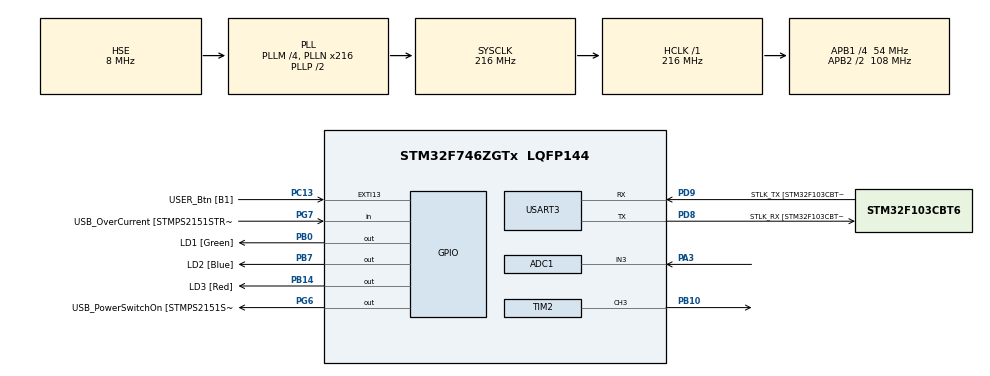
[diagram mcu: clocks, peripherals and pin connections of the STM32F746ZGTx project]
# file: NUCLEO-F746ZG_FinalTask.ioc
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ADC1.Channel-0\#ChannelRegularConversion=ADC_CHANNEL_3
ADC1.ExternalTrigConv=ADC_SOFTWARE_START
ADC1.NbrOfConversion=1
ADC1.NbrOfConversionFlag=1
ADC1.Rank-0\#ChannelRegularConversion=1
ADC1.SamplingTime-0\#ChannelRegularConversion=ADC_SAMPLETIME_480CYCLES
ADC1.master=1
Mcu.Family=STM32F7
Mcu.Name=STM32F746ZGTx
Mcu.Package=LQFP144
NVIC.ADC_IRQn=true\:0\:0\:false\:false\:true\:true\:true
NVIC.PriorityGroup=NVIC_PRIORITYGROUP_4
NVIC.TIM2_IRQn=true\:0\:0\:false\:false\:true\:true\:true
NVIC.USART3_IRQn=true\:0\:0\:false\:false\:true\:true\:true
PA1.GPIO_Label=RMII_REF_CLK [LAN8742A-CZ-TR_REFCLK0]
PA1.Signal=ETH_REF_CLK
PA10.GPIO_Label=USB_ID
PA10.Signal=USB_OTG_FS_ID
PA11.GPIO_Label=USB_DM
PA11.Signal=USB_OTG_FS_DM
PA12.GPIO_Label=USB_DP
PA12.Signal=USB_OTG_FS_DP
PA13.GPIO_Label=TMS
PA13.Mode=Serial_Wire
PA13.Signal=SYS_JTMS-SWDIO
PA14.GPIO_Label=TCK
PA14.Mode=Serial_Wire
PA14.Signal=SYS_JTCK-SWCLK
PA2.GPIO_Label=RMII_MDIO [LAN8742A-CZ-TR_MDIO]
PA2.Signal=ETH_MDIO
PA3.Signal=ADCx_IN3
PA7.GPIO_Label=RMII_CRS_DV [LAN8742A-CZ-TR_CRS_DV]
PA7.Signal=ETH_CRS_DV
PA8.GPIO_Label=USB_SOF [TP1]
PA8.Signal=USB_OTG_FS_SOF
PA9.GPIO_Label=USB_VBUS
PA9.Signal=USB_OTG_FS_VBUS
PB0.GPIO_Label=LD1 [Green]
PB0.Signal=GPIO_Output
PB10.GPIO_ModeDefaultPP=GPIO_MODE_AF_OD
PB10.GPIO_Speed=GPIO_SPEED_FREQ_VERY_HIGH
PB10.Signal=S_TIM2_CH3
PB13.GPIO_Label=RMII_TXD1 [LAN8742A-CZ-TR_TXD1]
PB13.Signal=ETH_TXD1
PB14.GPIO_Label=LD3 [Red]
PB14.Signal=GPIO_Output
PB3.GPIO_Label=SW0
PB3.Signal=SYS_JTDO-SWO
PB7.GPIO_Label=LD2 [Blue]
PB7.Signal=GPIO_Output
PC1.GPIO_Label=RMII_MDC [LAN8742A-CZ-TR_MDC]
PC1.Signal=ETH_MDC
PC13.GPIO_Label=USER_Btn [B1]
PC13.Signal=GPXTI13
PC14/OSC32_IN.Mode=LSE-External-Oscillator
PC14/OSC32_IN.Signal=RCC_OSC32_IN
PC15/OSC32_OUT.Mode=LSE-External-Oscillator
PC15/OSC32_OUT.Signal=RCC_OSC32_OUT
PC4.GPIO_Label=RMII_RXD0 [LAN8742A-CZ-TR_RXD0]
PC4.Signal=ETH_RXD0
PC5.GPIO_Label=RMII_RXD1 [LAN8742A-CZ-TR_RXD1]
PC5.Signal=ETH_RXD1
PD8.GPIO_Label=STLK_RX [STM32F103CBT6_PA3]
PD8.Mode=Asynchronous
PD8.Signal=USART3_TX
PD9.GPIO_Label=STLK_TX [STM32F103CBT6_PA2]
PD9.Mode=Asynchronous
PD9.Signal=USART3_RX
PG11.GPIO_Label=RMII_TX_EN [LAN8742A-CZ-TR_TXEN]
PG11.Signal=ETH_TX_EN
PG13.GPIO_Label=RMII_TXD0 [LAN8742A-CZ-TR_TXD0]
PG13.Signal=ETH_TXD0
PG6.GPIO_Label=USB_PowerSwitchOn [STMPS2151STR_EN]
PG6.Signal=GPIO_Output
PG7.GPIO_Label=USB_OverCurrent [STMPS2151STR_FAULT]
PG7.Signal=GPIO_Input
PH0/OSC_IN.GPIO_Label=MCO [STM32F103CBT6_PA8]
PH0/OSC_IN.Mode=HSE-External-Clock-Source
PH0/OSC_IN.Signal=RCC_OSC_IN
PH1/OSC_OUT.Mode=HSE-External-Clock-Source
PH1/OSC_OUT.Signal=RCC_OSC_OUT
ProjectManager.HeapSize=0x200
ProjectManager.StackSize=0x400
ProjectManager.TargetToolchain=STM32CubeIDE
RCC.48MHZClocksFreq_Value=24000000
RCC.AHBFreq_Value=216000000
RCC.APB1CLKDivider=RCC_HCLK_DIV4
RCC.APB1Freq_Value=54000000
RCC.APB1TimFreq_Value=108000000
RCC.APB2CLKDivider=RCC_HCLK_DIV2
RCC.APB2Freq_Value=108000000
RCC.APB2TimFreq_Value=216000000
RCC.CortexFreq_Value=216000000
RCC.HCLKFreq_Value=216000000
RCC.HSE_VALUE=8000000
RCC.HSI_VALUE=16000000
RCC.PLLM=4
RCC.PLLMUL=RCC_PLL_MUL9
RCC.PLLN=216
RCC.PLLQ=3
RCC.PLLSourceVirtual=RCC_PLLSOURCE_HSE
RCC.PRESCALERUSB=RCC_USBCLKSOURCE_PLL_DIV1_5
RCC.SYSCLKFreq_VALUE=216000000
RCC.SYSCLKSource=RCC_SYSCLKSOURCE_PLLCLK
RCC.SYSCLKSourceVirtual=RCC_SYSCLKSOURCE_PLLCLK
RCC.USBFreq_Value=144000000
RCC.VCOOutputFreq_Value=432000000
SH.ADCx_IN3.0=ADC1_IN3,IN3
SH.S_TIM2_CH3.0=TIM2_CH3,PWM Generation3 CH3
TIM2.Channel-PWM\ Generation3\ CH3=TIM_CHANNEL_3
TIM2.OCPolarity_3=TIM_OCPOLARITY_LOW
TIM2.Period=1000-1
TIM2.Prescaler=108-1
TIM2.Pulse-PWM\ Generation3\ CH3=500
TIM2.TIM_MasterOutputTrigger=TIM_TRGO_UPDATE
USART3.VirtualMode-Asynchronous=VM_ASYNC
VP_TIM2_VS_ClockSourceINT.Mode=Internal
board=NUCLEO-F746ZG

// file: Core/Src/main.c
/* USER CODE BEGIN Header */
/**
  ******************************************************************************
  * @file           : main.c
  * @brief          : Main program body
  ******************************************************************************
  * @attention
  *
  * <h2><center>&copy; Copyright (c) 2021 STMicroelectronics.
  * All rights reserved.</center></h2>
  *
  * This software component is licensed by ST under BSD 3-Clause license,
  * the "License"; You may not use this file except in compliance with the
  * License. You may obtain a copy of the License at:
  *                        opensource.org/licenses/BSD-3-Clause
  *
  ******************************************************************************
  */
/* USER CODE END Header */
#include "main.h"
#include "adc.h"
#include "tim.h"
#include "usart.h"
#include "gpio.h"

/* USER CODE BEGIN Includes */
#include <stdio.h>
#include <string.h>
#include "pid_controller_config.h"
/* USER CODE END Includes */

/* USER CODE BEGIN PD */
#define CLOSED_LOOP
/* USER CODE END PD */

/* USER CODE BEGIN PV */
uint8_t rx_buffer[32];
uint16_t msg_len;

float duty = 50.0f;              // [%]
float current = 0.0f;            // [mA]
float current_ref = 10.0f;       // [mA]
const float resistance = 100.0f; // [Ohm]

float SWV[4];

/* USER CODE END PV */

void SystemClock_Config(void);

/* USER CODE BEGIN 0 */
/**
  * @brief  Rx Transfer completed callback.
  * @param  huart UART handle.
  * @retval None
  */
void HAL_UART_RxCpltCallback(UART_HandleTypeDef *huart)
{
  if(huart == &huart3)
  {
    if(rx_buffer[0] == 'R')
    {
#ifdef CLOSED_LOOP
      sscanf((char*)&rx_buffer[1], "%f", &current_ref);
#else
      sscanf((char*)&rx_buffer[1], "%f", &duty);
    __HAL_TIM_SET_COMPARE(&htim2, TIM_CHANNEL_3, (uint32_t)(duty*10));
#endif
    }
    else
    {
      uint8_t tx_buffer[64];
      // TODO: add physical units!
      int resp_len = sprintf((char*)tx_buffer, "{ \"I1\":%f, \"I1REF\":%f, \"D1\":%f }\r", current, current_ref, duty);
      HAL_UART_Transmit(&huart3, tx_buffer, resp_len, 10);
    }
    HAL_UART_Receive_IT(&huart3, rx_buffer, msg_len);
  }
}

/**
  * @brief  Period elapsed callback in non-blocking mode
  * @param  htim TIM handle
  * @retval None
  */
void HAL_TIM_PeriodElapsedCallback(TIM_HandleTypeDef *htim)
{
  if(htim == &htim2)
  {
    HAL_GPIO_WritePin(DEBUG1_GPIO_Port, DEBUG1_Pin, GPIO_PIN_SET);
    HAL_ADC_Start_IT(&hadc1);
  }
}

/**
  * @brief  Regular conversion complete callback in non blocking mode
  * @param  hadc pointer to a ADC_HandleTypeDef structure that contains
  *         the configuration information for the specified ADC.
  * @retval None
  */
void HAL_ADC_ConvCpltCallback(ADC_HandleTypeDef* hadc)
{
  if(hadc == &hadc1)
  {
    float ain = 3.3f * HAL_ADC_GetValue(hadc) / 4095.0f; // [V]
    current = 1000.0f * (ain / resistance);              // [mA]

#ifdef CLOSED_LOOP
    duty = PID_GetOutput(&hpid1, current_ref, current);  // [%]
    __HAL_TIM_SET_COMPARE(&htim2, TIM_CHANNEL_3, (uint32_t)(duty*10)); // ARR = 999
#endif

    HAL_GPIO_WritePin(DEBUG1_GPIO_Port, DEBUG1_Pin, GPIO_PIN_RESET);
  }
}

/* USER CODE END 0 */

int main(void)
{
  /* USER CODE BEGIN 1 */
  SWV[0] = 0.0f;
  SWV[1] = 0.0f;
  SWV[2] = 0.0f;
  /* USER CODE END 1 */

  /* MCU Configuration--------------------------------------------------------*/

  /* Reset of all peripherals, Initializes the Flash interface and the Systick. */
  HAL_Init();

  /* Configure the system clock */
  SystemClock_Config();

  /* Initialize all configured peripherals */
  MX_GPIO_Init();
  MX_USART3_UART_Init();
  MX_ADC1_Init();
  MX_TIM2_Init();
  /* USER CODE BEGIN 2 */
  PID_Init(&hpid1);
  HAL_TIM_Base_Start_IT(&htim2);
  HAL_TIM_PWM_Start(&htim2, TIM_CHANNEL_3);

#ifdef CLOSED_LOOP
  msg_len = strlen("R00.0mA\r");
#else
  msg_len = strlen("R000.0%\r");
#endif

  HAL_UART_Receive_IT(&huart3, rx_buffer, msg_len);

  SWV[0] = 12.0f;
  SWV[1] = 12.0f;
  SWV[2] = 100.0f;
  /* USER CODE END 2 */

  /* Infinite loop */
  /* USER CODE BEGIN WHILE */
  while (1)
  {
    SWV[0] = current;
    SWV[1] = current_ref;
    SWV[2] = duty;
    /* USER CODE END WHILE */

    /* USER CODE BEGIN 3 */
    HAL_Delay(0);
  }
  /* USER CODE END 3 */
}

void SystemClock_Config(void)
{
  RCC_OscInitTypeDef RCC_OscInitStruct = {0};
  RCC_ClkInitTypeDef RCC_ClkInitStruct = {0};
  RCC_PeriphCLKInitTypeDef PeriphClkInitStruct = {0};

  /** Configure LSE Drive Capability
  */
  HAL_PWR_EnableBkUpAccess();
  /** Configure the main internal regulator output voltage
  */
  __HAL_RCC_PWR_CLK_ENABLE();
  __HAL_PWR_VOLTAGESCALING_CONFIG(PWR_REGULATOR_VOLTAGE_SCALE1);
  /** Initializes the RCC Oscillators according to the specified parameters
  * in the RCC_OscInitTypeDef structure.
  */
  RCC_OscInitStruct.OscillatorType = RCC_OSCILLATORTYPE_HSE;
  RCC_OscInitStruct.HSEState = RCC_HSE_BYPASS;
  RCC_OscInitStruct.PLL.PLLState = RCC_PLL_ON;
  RCC_OscInitStruct.PLL.PLLSource = RCC_PLLSOURCE_HSE;
  RCC_OscInitStruct.PLL.PLLM = 4;
  RCC_OscInitStruct.PLL.PLLN = 216;
  RCC_OscInitStruct.PLL.PLLP = RCC_PLLP_DIV2;
  RCC_OscInitStruct.PLL.PLLQ = 3;
  if (HAL_RCC_OscConfig(&RCC_OscInitStruct) != HAL_OK)
  {
    Error_Handler();
  }
  /** Activate the Over-Drive mode
  */
  if (HAL_PWREx_EnableOverDrive() != HAL_OK)
  {
    Error_Handler();
  }
  /** Initializes the CPU, AHB and APB buses clocks
  */
  RCC_ClkInitStruct.ClockType = RCC_CLOCKTYPE_HCLK|RCC_CLOCKTYPE_SYSCLK
                              |RCC_CLOCKTYPE_PCLK1|RCC_CLOCKTYPE_PCLK2;
  RCC_ClkInitStruct.SYSCLKSource = RCC_SYSCLKSOURCE_PLLCLK;
  RCC_ClkInitStruct.AHBCLKDivider = RCC_SYSCLK_DIV1;
  RCC_ClkInitStruct.APB1CLKDivider = RCC_HCLK_DIV4;
  RCC_ClkInitStruct.APB2CLKDivider = RCC_HCLK_DIV2;

  if (HAL_RCC_ClockConfig(&RCC_ClkInitStruct, FLASH_LATENCY_7) != HAL_OK)
  {
    Error_Handler();
  }
  PeriphClkInitStruct.PeriphClockSelection = RCC_PERIPHCLK_USART3;
  PeriphClkInitStruct.Usart3ClockSelection = RCC_USART3CLKSOURCE_PCLK1;
  if (HAL_RCCEx_PeriphCLKConfig(&PeriphClkInitStruct) != HAL_OK)
  {
    Error_Handler();
  }
}

void Error_Handler(void)
{
  __disable_irq();
  while (1)
  {
  }
}

/************************ (C) COPYRIGHT STMicroelectronics *****END OF FILE****/
